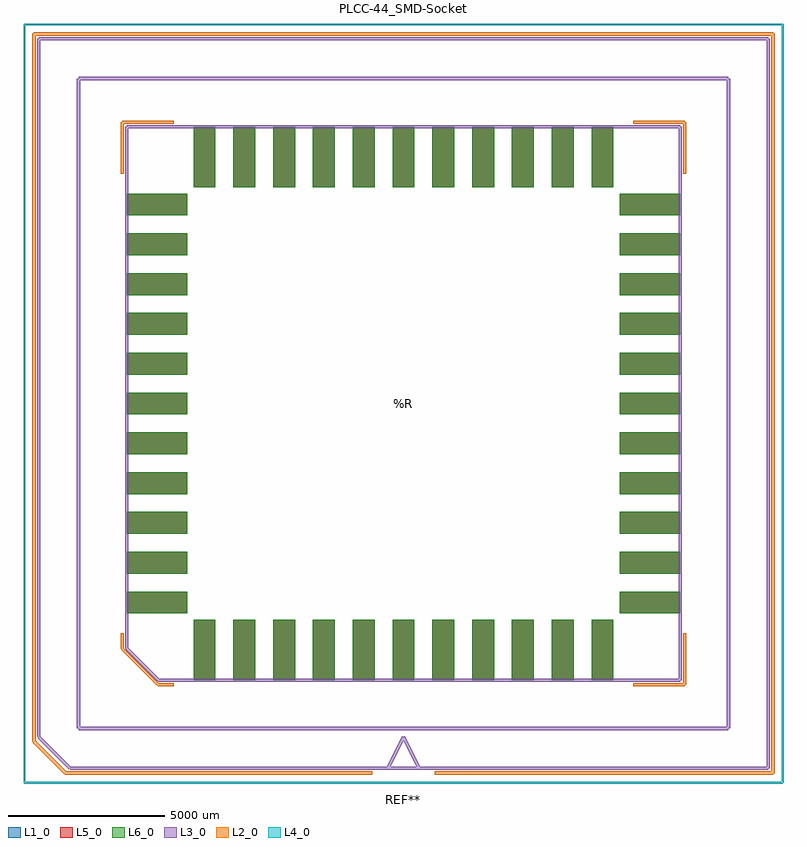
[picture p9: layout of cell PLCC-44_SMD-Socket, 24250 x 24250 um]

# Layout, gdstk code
import gdstk
lib = gdstk.Library(unit=1e-6, precision=1e-09)
def R(c, l, rs):  # rectangles x0, y0, x1, y1
    for r in rs: c.add(gdstk.rectangle(r[:2], r[2:], *l))
def A(c, l, x, y, w, h, nx, ny, dx, dy):  # array of equal rectangles
    R(c, l, [(x+i*dx, y+j*dy, x+i*dx+w, y+j*dy+h) for i in range(nx) for j in range(ny)])
L1_0 = (1, 0)
L2_0 = (2, 0)
L3_0 = (3, 0)
L4_0 = (4, 0)
L5_0 = (5, 0)
L6_0 = (6, 0)

plcc_44_smd_socket = lib.new_cell('PLCC-44_SMD-Socket')
A(plcc_44_smd_socket, L1_0, -6700, -8825, 700, 1925, 11, 2, 1270, 15725)
A(plcc_44_smd_socket, L1_0, -8825, -6700, 1925, 700, 1, 11, 0, 1270)
A(plcc_44_smd_socket, L1_0, 6900, -6700, 1925, 700, 1, 11, 0, 1270)
A(plcc_44_smd_socket, L5_0, -6700, -8825, 700, 1925, 11, 2, 1270, 15725)
A(plcc_44_smd_socket, L5_0, -8825, -6700, 1925, 700, 1, 11, 0, 1270)
A(plcc_44_smd_socket, L5_0, 6900, -6700, 1925, 700, 1, 11, 0, 1270)
A(plcc_44_smd_socket, L6_0, -6700, -8825, 700, 1925, 11, 2, 1270, 15725)
A(plcc_44_smd_socket, L6_0, -8825, -6700, 1925, 700, 1, 11, 0, 1270)
A(plcc_44_smd_socket, L6_0, 6900, -6700, 1925, 700, 1, 11, 0, 1270)
plcc_44_smd_socket.add(gdstk.FlexPath([(-10640,-11640),(-11640,-10640)], 100, ends="flush", simple_path=True, layer=3, datatype=0))  # L3_0
plcc_44_smd_socket.add(gdstk.FlexPath([(-11640,-10640),(-11640,11640)], 100, ends="flush", simple_path=True, layer=3, datatype=0))  # L3_0
plcc_44_smd_socket.add(gdstk.FlexPath([(-11640,11640),(11640,11640)], 100, ends="flush", simple_path=True, layer=3, datatype=0))  # L3_0
plcc_44_smd_socket.add(gdstk.FlexPath([(11640,11640),(11640,-11640)], 100, ends="flush", simple_path=True, layer=3, datatype=0))  # L3_0
plcc_44_smd_socket.add(gdstk.FlexPath([(11640,-11640),(-10640,-11640)], 100, ends="flush", simple_path=True, layer=3, datatype=0))  # L3_0
plcc_44_smd_socket.add(gdstk.FlexPath([(-12100,-12100),(-12100,12100)], 50, ends="flush", simple_path=True, layer=4, datatype=0))  # L4_0
plcc_44_smd_socket.add(gdstk.FlexPath([(-12100,12100),(12100,12100)], 50, ends="flush", simple_path=True, layer=4, datatype=0))  # L4_0
plcc_44_smd_socket.add(gdstk.FlexPath([(12100,12100),(12100,-12100)], 50, ends="flush", simple_path=True, layer=4, datatype=0))  # L4_0
plcc_44_smd_socket.add(gdstk.FlexPath([(12100,-12100),(-12100,-12100)], 50, ends="flush", simple_path=True, layer=4, datatype=0))  # L4_0
plcc_44_smd_socket.add(gdstk.FlexPath([(-7825,-8825),(-8825,-7825)], 100, ends="flush", simple_path=True, layer=3, datatype=0))  # L3_0
plcc_44_smd_socket.add(gdstk.FlexPath([(-8825,-7825),(-8825,8825)], 100, ends="flush", simple_path=True, layer=3, datatype=0))  # L3_0
plcc_44_smd_socket.add(gdstk.FlexPath([(-8825,8825),(8825,8825)], 100, ends="flush", simple_path=True, layer=3, datatype=0))  # L3_0
plcc_44_smd_socket.add(gdstk.FlexPath([(8825,8825),(8825,-8825)], 100, ends="flush", simple_path=True, layer=3, datatype=0))  # L3_0
plcc_44_smd_socket.add(gdstk.FlexPath([(8825,-8825),(-7825,-8825)], 100, ends="flush", simple_path=True, layer=3, datatype=0))  # L3_0
plcc_44_smd_socket.add(gdstk.FlexPath([(-10370,-10370),(-10370,10370)], 100, ends="flush", simple_path=True, layer=3, datatype=0))  # L3_0
plcc_44_smd_socket.add(gdstk.FlexPath([(-10370,10370),(10370,10370)], 100, ends="flush", simple_path=True, layer=3, datatype=0))  # L3_0
plcc_44_smd_socket.add(gdstk.FlexPath([(10370,10370),(10370,-10370)], 100, ends="flush", simple_path=True, layer=3, datatype=0))  # L3_0
plcc_44_smd_socket.add(gdstk.FlexPath([(10370,-10370),(-10370,-10370)], 100, ends="flush", simple_path=True, layer=3, datatype=0))  # L3_0
plcc_44_smd_socket.add(gdstk.FlexPath([(-500,-11640),(0,-10640)], 100, ends="flush", simple_path=True, layer=3, datatype=0))  # L3_0
plcc_44_smd_socket.add(gdstk.FlexPath([(0,-10640),(500,-11640)], 100, ends="flush", simple_path=True, layer=3, datatype=0))  # L3_0
plcc_44_smd_socket.add(gdstk.FlexPath([(-1000,-11790),(-10790,-11790)], 120, ends="flush", simple_path=True, layer=2, datatype=0))  # L2_0
plcc_44_smd_socket.add(gdstk.FlexPath([(-10790,-11790),(-11790,-10790)], 120, ends="flush", simple_path=True, layer=2, datatype=0))  # L2_0
plcc_44_smd_socket.add(gdstk.FlexPath([(-11790,-10790),(-11790,11790)], 120, ends="flush", simple_path=True, layer=2, datatype=0))  # L2_0
plcc_44_smd_socket.add(gdstk.FlexPath([(-11790,11790),(11790,11790)], 120, ends="flush", simple_path=True, layer=2, datatype=0))  # L2_0
plcc_44_smd_socket.add(gdstk.FlexPath([(11790,11790),(11790,-11790)], 120, ends="flush", simple_path=True, layer=2, datatype=0))  # L2_0
plcc_44_smd_socket.add(gdstk.FlexPath([(11790,-11790),(1000,-11790)], 120, ends="flush", simple_path=True, layer=2, datatype=0))  # L2_0
plcc_44_smd_socket.add(gdstk.FlexPath([(-7325,-8975),(-7825,-8975)], 100, ends="flush", simple_path=True, layer=2, datatype=0))  # L2_0
plcc_44_smd_socket.add(gdstk.FlexPath([(-7825,-8975),(-8975,-7825)], 100, ends="flush", simple_path=True, layer=2, datatype=0))  # L2_0
plcc_44_smd_socket.add(gdstk.FlexPath([(-8975,-7825),(-8975,-7325)], 100, ends="flush", simple_path=True, layer=2, datatype=0))  # L2_0
plcc_44_smd_socket.add(gdstk.FlexPath([(7325,-8975),(8975,-8975)], 100, ends="flush", simple_path=True, layer=2, datatype=0))  # L2_0
plcc_44_smd_socket.add(gdstk.FlexPath([(8975,-8975),(8975,-7325)], 100, ends="flush", simple_path=True, layer=2, datatype=0))  # L2_0
plcc_44_smd_socket.add(gdstk.FlexPath([(-7325,8975),(-8975,8975)], 100, ends="flush", simple_path=True, layer=2, datatype=0))  # L2_0
plcc_44_smd_socket.add(gdstk.FlexPath([(-8975,8975),(-8975,7325)], 100, ends="flush", simple_path=True, layer=2, datatype=0))  # L2_0
plcc_44_smd_socket.add(gdstk.FlexPath([(7325,8975),(8975,8975)], 100, ends="flush", simple_path=True, layer=2, datatype=0))  # L2_0
plcc_44_smd_socket.add(gdstk.FlexPath([(8975,8975),(8975,7325)], 100, ends="flush", simple_path=True, layer=2, datatype=0))  # L2_0
plcc_44_smd_socket.add(gdstk.Label('REF**', (0,-12640), layer=2, texttype=0))
plcc_44_smd_socket.add(gdstk.Label('PLCC-44_SMD-Socket', (0,12640), layer=3, texttype=0))
plcc_44_smd_socket.add(gdstk.Label('%R', (0,0), layer=3, texttype=0))

lib.write_gds('PLCC-44_SMD-Socket.gds')
